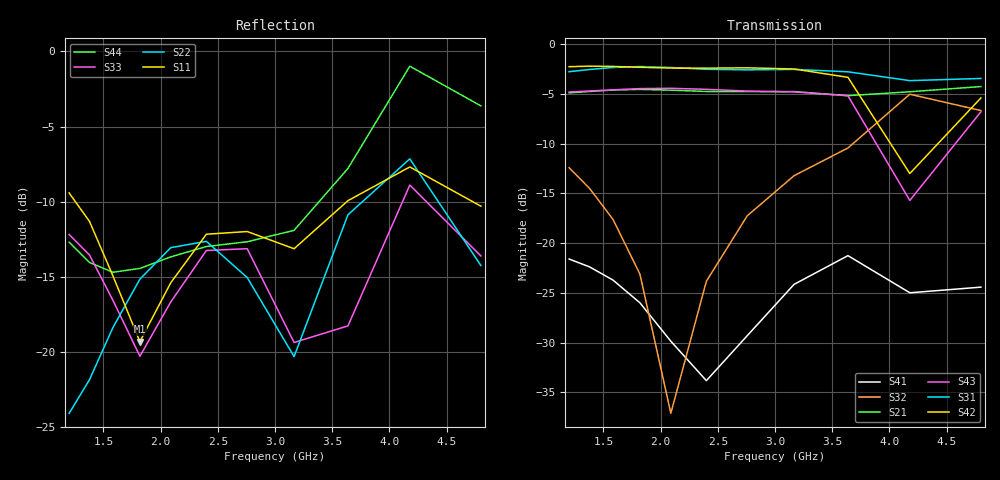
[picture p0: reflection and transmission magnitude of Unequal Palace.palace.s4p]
! Generated by circuitRF - EM: Palace
! circuitRF-EM setup: Unequal Palace
! circuitRF-EM layout: Unequal.c3d
! circuitRF-EM written: 2026-11-15 23:46:12Z
! circuitRF-EM stamp: 20261115T234612Z-170b01b9
! circuitRF-EM geometry: d471476f2e7c781a
! circuitRF-EM mesh settings: a7694d155dadb9d5
! circuitRF-EM ports: fadaab484878403c
! circuitRF-EM model: Palace 0.18.1 (0dc74cd, schema 1-7-0)
! Port[1] = P1
! Port[2] = P2
! Port[3] = P3
! Port[4] = R1
! circuitRF-EM port 1: 'port/1' from 'U1/Bottom Copper (1 oz)/1' to 'U1/Top Copper (1 oz)/1', lumped, 50 Ohm
! circuitRF-EM port 2: 'port/2' from 'U1/Bottom Copper (1 oz)/1' to 'U1/Top Copper (1 oz)/1', lumped, 50 Ohm
! circuitRF-EM port 3: 'port/3' from 'U1/Bottom Copper (1 oz)/1' to 'U1/Top Copper (1 oz)/1', lumped, 50 Ohm
! circuitRF-EM port 4: 'port/4' from 'U1/Top Copper (1 oz)/1' to 'U1/Top Copper (1 oz)/1', lumped, 50 Ohm
! Port 1 = P01  P1  net=?  ref=U1/Bottom Copper (1 oz)/1  uncalibrated
! Port 2 = P02  P2  net=?  ref=U1/Bottom Copper (1 oz)/1  uncalibrated
! Port 3 = P03  P3  net=?  ref=U1/Bottom Copper (1 oz)/1  uncalibrated
! Port 4 = P04  R1  net=?  ref=U1/Top Copper (1 oz)/1  uncalibrated
! DC: none, the lowest row is 1.2 GHz; a circuit's DC solve through this file takes that row as DC
! circuitRF-EM 3D mesh: 100,186 elements initially, 100,186 finally, 0 adaptive pass(es), element order 1
! circuitRF-EM 3D operating temperature: 20 C
! circuitRF-EM 3D run: preset Draft; 100186 -> 100186 tetrahedra; 129666 unknowns; 0 refinement pass(es); 4 frequency sample(s)
! circuitRF-EM 3D run cost: wall 153 s; Palace peak memory 3.3 GB
! circuitRF-EM: re-running the EM setup rewrites this file. If circuitRF reports it as stale, the layout's cross-section changed after this file was written.
# GHz S RI R 50
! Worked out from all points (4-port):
!   11 points, 1.2 GHz to 4.8 GHz, reference 50 ohm
!   strongest paths, dB at 1.2 GHz, 1.583 GHz, 2.4 GHz, 3.638 GHz, 4.8 GHz:
!     S42: -2.3, -2.2, -2.4, -3.3, -5.4
!     S31: -2.8, -2.4, -2.5, -2.8, -3.5
!     S43: -4.8, -4.6, -4.5, -5.2, -6.8
!     S21: -4.9, -4.6, -4.8, -5.2, -4.3
!     S32: -12.4, -17.6, -23.8, -10.4, -6.7
!     S41: -21.6, -23.7, -33.8, -21.3, -24.4
!   lowest |S11| = -19.3 dB at 1.819 GHz (marker M1), VSWR 1.24, Z = 42.1 + j6.06 ohm
!   |S11| at or under -10 dB: 1.255 GHz to 3.628 GHz (2.373 GHz wide, 97.2 % of centre); 4.729 GHz to end of sweep
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1.2  -0.2075 0.2669  -0.443 -0.3567  -0.5258 -0.5012  0.0331 0.0763
     -0.443 -0.3567  0.0599 0.0179  -0.2263 0.0775  0.352 -0.6845
     -0.5258 -0.5012  -0.2263 0.0775  -0.0811 0.2322  -0.2604 0.5118
     0.0331 0.0763  0.352 -0.6845  -0.2604 0.5118  0.1513 0.1756
1.81886  -0.0816 0.0712  -0.4884 0.3346  -0.6516 0.4117  0.0469 -0.0178
         -0.4884 0.3346  -0.000646 -0.1747  0.0341 0.061  -0.2927 -0.7061
         -0.6516 0.4117  0.0341 0.061  0.082 -0.0515  0.2082 0.5596
         0.0469 -0.0178  -0.2927 -0.7061  0.2082 0.5596  0.1297 0.1385
2.089321  -0.1662 0.0362  -0.2286 0.5403  -0.3123 0.6955  0.0117 -0.0299
          -0.2286 0.5403  -0.1252 -0.1838  0.00362 0.0135  -0.5111 -0.5592
          -0.3123 0.6955  0.00362 0.0135  -0.0747 -0.1265  0.3947 0.4511
          0.0117 -0.0299  -0.5111 -0.5592  0.3947 0.4511  0.1634 0.1275
3.166819  -0.1687 0.1421  0.5595 -0.1408  0.7226 -0.1853  0.0439 0.0439
          0.5595 -0.1408  -0.095 -0.017  0.2175 -0.0154  -0.6091 0.4365
          0.7226 -0.1853  0.2175 -0.0154  0.0318 0.1028  0.4868 -0.3059
          0.0439 0.0439  -0.6091 0.4365  0.4868 -0.3059  0.1276 -0.2196
3.63772  -0.2377 0.2123  0.1929 -0.5156  0.222 -0.6907  0.0776 -0.0382
         0.1929 -0.5156  -0.2845 -0.0292  0.1183 -0.2763  -0.1183 0.6702
         0.222 -0.6907  0.1183 -0.2763  -0.1201 -0.0224  0.1336 -0.5333
         0.0776 -0.0382  -0.1183 0.6702  0.1336 -0.5333  -0.2312 -0.336
4.178643  -0.1016 0.4  -0.3485 -0.4585  -0.4781 -0.4477  -0.0378 -0.0417
          -0.3485 -0.4585  0.00689 0.439  -0.4524 -0.3294  0.2012 0.0974
          -0.4781 -0.4477  -0.4524 -0.3294  0.0814 0.3498  -0.1458 -0.0747
          -0.0378 -0.0417  0.2012 0.0974  -0.1458 -0.0747  -0.7994 0.398
4.8  0.163 0.2585  -0.5486 0.2704  -0.6247 0.2468  0.00859 -0.0595
     -0.5486 0.2704  0.0424 -0.1892  -0.0385 0.4619  0.024 0.5354
     -0.6247 0.2468  -0.0385 0.4619  0.1451 -0.15  -0.0422 -0.4547
     0.00859 -0.0595  0.024 0.5354  -0.0422 -0.4547  0.1648 0.6378
